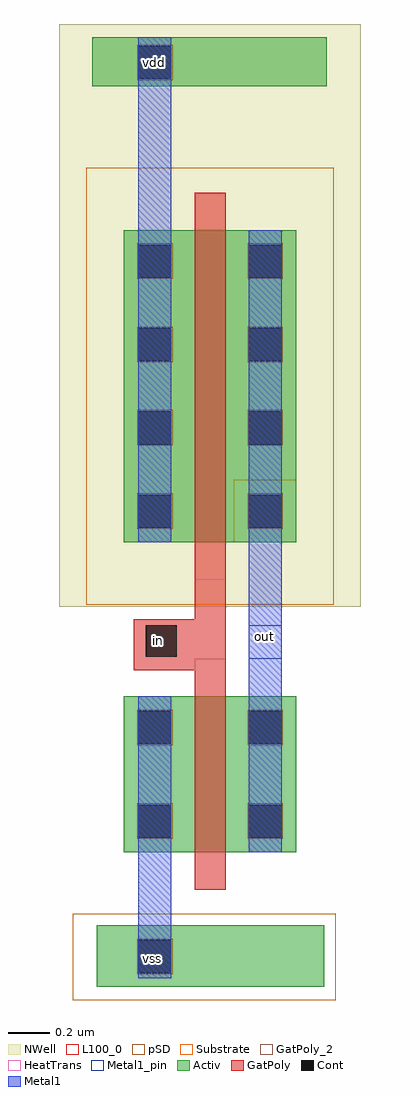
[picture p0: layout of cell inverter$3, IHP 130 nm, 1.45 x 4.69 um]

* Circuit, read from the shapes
.subckt inverter$3 in out vdd vss
XM1 out in vss vss sg13_lv_nmos w=0.75u l=0.15u
XM2 out in vdd vdd sg13_lv_pmos w=1.5u l=0.15u
.ends

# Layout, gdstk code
import gdstk
lib = gdstk.Library(unit=1e-6, precision=1.5e-09)
def R(c, l, rs):  # rectangles x0, y0, x1, y1
    for r in rs: c.add(gdstk.rectangle(r[:2], r[2:], *l))
Activ = (1, 0)
GatPoly = (5, 0)
GatPoly_2 = (5, 2)
Cont = (6, 0)
Metal1 = (8, 0)
Metal1_pin = (8, 2)
pSD = (14, 0)
NWell = (31, 0)
Substrate = (40, 0)
HeatTrans = (51, 0)
L100_0 = (100, 0)

nmos_4 = lib.new_cell('nmos$4')
R(nmos_4, Activ, [(0,0,0.3,0.3), (0,0,0.8295,0.75), (0.5295,0,0.8295,0.3)])
R(nmos_4, GatPoly, [(0.3405,-0.18,0.4905,0.93)])
R(nmos_4, GatPoly_2, [(0.3405,-0.18,0.4905,0.93)])
R(nmos_4, Cont, [(0.0705,0.0705,0.2295,0.2295), (0.6,0.0705,0.7605,0.2295), (0.0705,0.5205,0.2295,0.6795), (0.6,0.5205,0.7605,0.6795)])
R(nmos_4, Metal1, [(0.0705,0,0.2295,0.75), (0.6,0,0.7605,0.75)])
R(nmos_4, Metal1_pin, [(0.0705,0,0.2295,0.75), (0.6,0,0.7605,0.75)])
R(nmos_4, HeatTrans, [(0.3405,-0.18,0.4905,0.93)])
nmos_4.add(gdstk.Label('nmos', (0.4155,0.375), layer=63, texttype=0))
nmos_4.add(gdstk.Label('nmos', (0.4155,0.375), layer=51, texttype=0))

pmos_4 = lib.new_cell('pmos$4')
R(pmos_4, Activ, [(0,0,0.3,0.3), (0,0,0.8295,1.5), (0.5295,0,0.8295,0.3)])
R(pmos_4, GatPoly, [(0.3405,-0.18,0.4905,1.68), (0.3405,-0.18,0.4905,1.68)])
R(pmos_4, Cont, [(0.0705,0.0705,0.2295,0.2295), (0.6,0.0705,0.7605,0.2295), (0.0705,0.4695,0.2295,0.63), (0.6,0.4695,0.7605,0.63), (0.0705,0.87,0.2295,1.0305), (0.6,0.87,0.7605,1.0305), (0.0705,1.2705,0.2295,1.4295), (0.6,1.2705,0.7605,1.4295)])
R(pmos_4, Metal1, [(0.0705,0,0.2295,1.5), (0.0705,0,0.2295,1.5), (0.6,0,0.7605,1.5), (0.6,0,0.7605,1.5)])
R(pmos_4, pSD, [(-0.18,-0.3,1.0095,1.8)])
R(pmos_4, NWell, [(-0.3105,-0.3105,1.14,1.8105)])
R(pmos_4, Substrate, [(0.5295,0,0.8295,0.3)])
R(pmos_4, HeatTrans, [(0.3405,-0.18,0.4905,1.68)])
pmos_4.add(gdstk.Label('pmos', (0.4155,0.75), layer=63, texttype=0))
pmos_4.add(gdstk.Label('pmos', (0.4155,0.75), layer=51, texttype=0))

inverter_3 = lib.new_cell('inverter$3')
R(inverter_3, Activ, [(-0.7455,-1.77,0.3495,-1.4745), (-0.765,2.5545,0.36,2.79)])
R(inverter_3, GatPoly, [(-0.5655,-0.2505,-0.2745,-0.0045), (-0.2745,-0.195,-0.1245,0.1845)])
R(inverter_3, GatPoly_2, [(-0.51,-0.1845,-0.36,-0.0345)])
R(inverter_3, Cont, [(-0.5445,-1.7055,-0.3855,-1.545), (-0.5445,-1.7055,-0.3855,-1.545), (-0.51,-0.1845,-0.36,-0.0345), (-0.5445,2.5905,-0.3855,2.7495)])
R(inverter_3, Metal1, [(-0.5445,-1.7295,-0.3855,-0.8445), (-0.015,-0.375,0.1455,0.3645), (-0.5445,1.8645,-0.3855,2.79)])
R(inverter_3, Metal1_pin, [(-0.015,-0.57,0.1455,-0.435), (-0.015,-0.195,0.1455,-0.0345), (-0.5445,2.5905,-0.3855,2.7495)])
R(inverter_3, pSD, [(-0.8595,-1.8345,0.405,-1.4205)])
R(inverter_3, NWell, [(-0.9255,2.175,0.525,2.8545)])
R(inverter_3, L100_0, [(-0.5505,-1.71,-0.3795,-1.5405), (-0.5505,-1.71,-0.3795,-1.5405), (-0.5505,-1.0605,-0.3795,-0.8895), (-0.5505,-1.0605,-0.3795,-0.8895), (-0.0195,-1.0605,0.15,-0.8895), (-0.0195,-1.0605,0.15,-0.8895), (-0.5505,-0.6105,-0.3795,-0.4395), (-0.5505,-0.6105,-0.3795,-0.4395), (-0.0195,-0.6105,0.15,-0.4395), (-0.0195,-0.6105,0.15,-0.4395), (-0.5505,0.4305,-0.3795,0.6), (-0.5505,0.4305,-0.3795,0.6), (-0.0195,0.4305,0.15,0.6), (-0.0195,0.4305,0.15,0.6), (-0.5505,0.8295,-0.3795,1.0005), (-0.5505,0.8295,-0.3795,1.0005), (-0.0195,0.8295,0.15,1.0005), (-0.0195,0.8295,0.15,1.0005), (-0.5505,1.23,-0.3795,1.3995), (-0.5505,1.23,-0.3795,1.3995), (-0.0195,1.23,0.15,1.3995), (-0.0195,1.23,0.15,1.3995), (-0.5505,1.6305,-0.3795,1.8), (-0.5505,1.6305,-0.3795,1.8), (-0.0195,1.6305,0.15,1.8), (-0.0195,1.6305,0.15,1.8), (-0.5505,2.5845,-0.3795,2.7555), (-0.5505,2.5845,-0.3795,2.7555)])
inverter_3.add(gdstk.Reference(nmos_4, (-0.615,-1.125)))
inverter_3.add(gdstk.Reference(pmos_4, (-0.615,0.3645)))
inverter_3.add(gdstk.Label('out', (0.06,-0.09), layer=8, texttype=2))
inverter_3.add(gdstk.Label('vss', (-0.4755,-1.635), layer=8, texttype=2))
inverter_3.add(gdstk.Label('vdd', (-0.465,2.67), layer=8, texttype=2))
inverter_3.add(gdstk.Label('in', (-0.45,-0.1095), layer=5, texttype=2))

lib.write_gds('inverter_3.gds')
